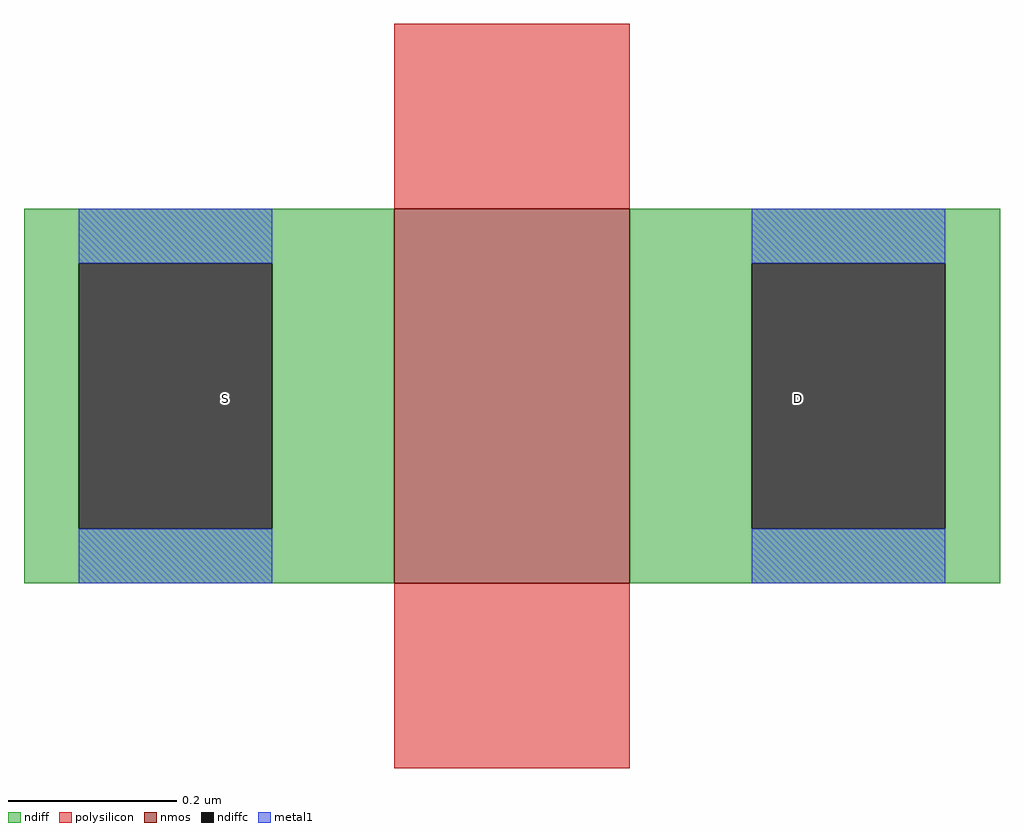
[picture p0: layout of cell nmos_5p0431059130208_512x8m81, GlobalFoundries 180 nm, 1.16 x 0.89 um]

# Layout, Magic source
magic
tech gf180mcuD
magscale 1 10
<< nmos >>
rect 0 0 56 89
<< ndiff >>
rect -88 76 0 89
rect -88 13 -75 76
rect -29 13 0 76
rect -88 0 0 13
rect 56 76 144 89
rect 56 13 85 76
rect 131 13 144 76
rect 56 0 144 13
<< ndiffc >>
rect -75 13 -29 76
rect 85 13 131 76
<< polysilicon >>
rect 0 89 56 133
rect 0 -44 56 0
<< metal1 >>
rect -75 76 -29 89
rect -75 0 -29 13
rect 85 76 131 89
rect 85 0 131 13
<< labels >>
flabel ndiffc -40 44 -40 44 0 FreeSans 93 0 0 0 S
flabel ndiffc 96 44 96 44 0 FreeSans 93 0 0 0 D
<< end >>
